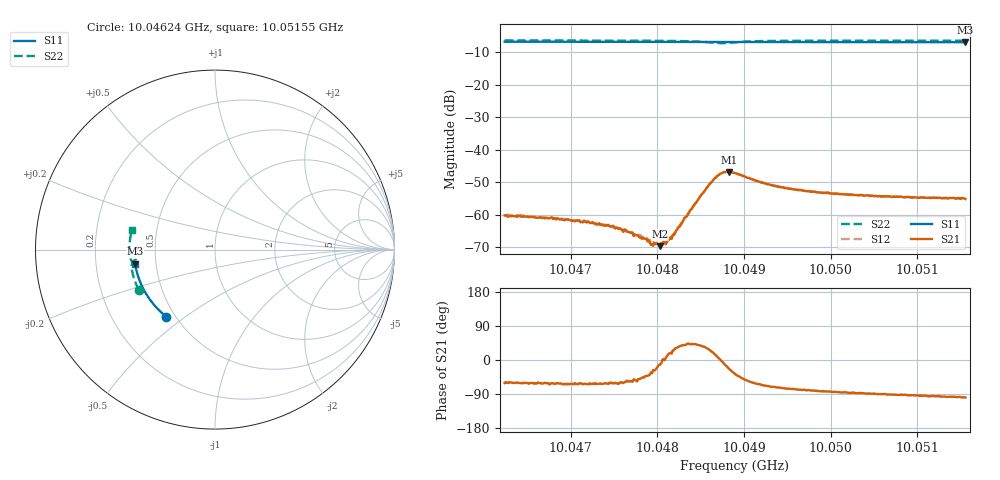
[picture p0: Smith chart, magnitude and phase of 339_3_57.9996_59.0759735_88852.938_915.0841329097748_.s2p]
#  HZ  S  RI  R  50.00
! Rohde & Schwarz Vector Network Analyzer
! Rohde-Schwarz,ZNB20-2Port,1311601062101988,3.16
! Created: UTC 3/21/2024, 1:05:26 AM
! freq[Hz]  re:S11  im:S11  re:S21  im:S21  re:S12  im:S12  re:S22  im:S22
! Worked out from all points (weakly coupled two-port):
!   401 points, 10.04624 GHz to 10.05155 GHz, reference 50 ohm
!   highest |S21| = -46.83 dB at 10.04883 GHz (marker M1); lowest = -69.7 dB at 10.04803 GHz (marker M2)
!   lowest |S11| = -6.9 dB at 10.05155 GHz (marker M3), VSWR 2.65, Z = 19 - j3.78 ohm
!   |S11| at or under -10 dB: nowhere
!   |S22| runs from -7.2 to -6.4 dB; largest |S21 - S12| = 0.00033
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1.0046238e10  -0.2713 -0.3732  0.000479 -0.000852  0.000576 -0.000808  -0.426 -0.2237
1.0046437e10  -0.2818 -0.3649  0.000447 -0.000822  0.000538 -0.000824  -0.4319 -0.2116
1.0047128e10  -0.3154 -0.334  0.00036 -0.000695  0.000405 -0.000689  -0.4493 -0.1681
1.0047461e10  -0.3305 -0.3183  0.000315 -0.000571  0.000351 -0.000573  -0.456 -0.1459
1.0047647e10  -0.3387 -0.309  0.00032 -0.000447  0.000306 -0.000485  -0.4592 -0.1332
1.004774e10  -0.3426 -0.3043  0.0003 -0.00039  0.000312 -0.000394  -0.4605 -0.1266
1.0047806e10  -0.3453 -0.3008  0.000292 -0.000343  0.000347 -0.000343  -0.4613 -0.1218
1.0047873e10  -0.3481 -0.2975  0.000317 -0.000289  0.000323 -0.000285  -0.4622 -0.1169
1.0047939e10  -0.3509 -0.2941  0.000294 -0.000205  0.000326 -0.000168  -0.463 -0.1119
1.0048019e10  -0.354 -0.2899  0.000327 -7.64e-05  0.000334 -6.32e-05  -0.4637 -0.1058
1.0048032e10  -0.3546 -0.2892  0.000321 -6.94e-05  0.000337 -4.45e-05  -0.4638 -0.1048
1.0048112e10  -0.3579 -0.2849  0.000378 6.87e-05  0.00039 9.64e-05  -0.4643 -0.0984
1.0048192e10  -0.361 -0.2809  0.000439 0.000213  0.000455 0.000234  -0.4643 -0.0917
1.0048497e10  -0.3725 -0.2641  0.00152 0.0012  0.00144 0.00129  -0.4558 -0.0643
1.004867e10  -0.3785 -0.2546  0.00359 0.000882  0.00358 0.0011  -0.4376 -0.0589
1.004875e10  -0.381 -0.2504  0.00439 -0.000346  0.00441 -0.000107  -0.4322 -0.0671
1.004883e10  -0.3839 -0.2459  0.00417 -0.00184  0.00434 -0.00159  -0.4366 -0.0759
1.0048896e10  -0.386 -0.2424  0.00352 -0.00261  0.00369 -0.00242  -0.4446 -0.0781
1.0049295e10  -0.399 -0.2195  0.00101 -0.00275  0.00121 -0.00265  -0.4706 -0.0495
1.0049787e10  -0.4129 -0.1903  0.000378 -0.00224  0.000494 -0.00222  -0.4764 -0.0119
1.0050677e10  -0.4325 -0.1353  -2.97e-05 -0.00193  9.19e-05 -0.00188  -0.4741 0.05
1.0051554e10  -0.445 -0.0792  -0.000272 -0.00173  -0.000121 -0.00176  -0.4641 0.1074
